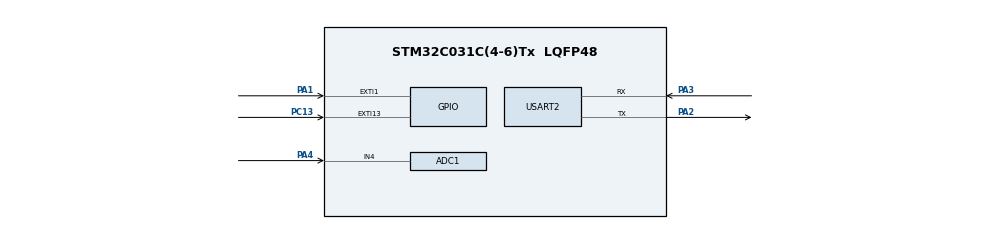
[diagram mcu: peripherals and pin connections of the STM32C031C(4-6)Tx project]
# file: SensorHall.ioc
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ADC1.NbrOfConversionFlag=0
ADC1.SelectedChannel=ADC_CHANNEL_4
ADC1.master=1
Dma.ADC1.0.Direction=DMA_PERIPH_TO_MEMORY
Dma.ADC1.0.EventEnable=DISABLE
Dma.ADC1.0.Instance=DMA1_Channel1
Dma.ADC1.0.MemDataAlignment=DMA_MDATAALIGN_HALFWORD
Dma.ADC1.0.MemInc=DMA_MINC_ENABLE
Dma.ADC1.0.Mode=DMA_NORMAL
Dma.ADC1.0.PeriphDataAlignment=DMA_PDATAALIGN_HALFWORD
Dma.ADC1.0.PeriphInc=DMA_PINC_DISABLE
Dma.ADC1.0.Polarity=HAL_DMAMUX_REQ_GEN_RISING
Dma.ADC1.0.Priority=DMA_PRIORITY_MEDIUM
Dma.ADC1.0.RequestNumber=1
Dma.ADC1.0.SignalID=NONE
Dma.ADC1.0.SyncEnable=DISABLE
Dma.ADC1.0.SyncPolarity=HAL_DMAMUX_SYNC_NO_EVENT
Dma.ADC1.0.SyncRequestNumber=1
Dma.ADC1.0.SyncSignalID=NONE
Dma.Request0=ADC1
Mcu.Family=STM32C0
Mcu.Name=STM32C031C(4-6)Tx
Mcu.Package=LQFP48
NVIC.DMA1_Channel1_IRQn=true\:0\:0\:false\:false\:true\:false\:true\:true
PA1.Signal=GPXTI1
PA13.GPIO_Label=DEBUG_SWDIO
PA13.Signal=DEBUG_SWDIO
PA14-BOOT0.GPIO_Label=DEBUG_SWCLK
PA14-BOOT0.Signal=DEBUG_SWCLK
PA2.Mode=Asynchronous
PA2.Signal=USART2_TX
PA3.Mode=Asynchronous
PA3.Signal=USART2_RX
PA4.Mode=IN4
PA4.Signal=ADC1_IN4
PC13.Signal=GPXTI13
PC14-OSCX_IN\ (PC14).GPIO_Label=RCC_OSCX_IN
PC14-OSCX_IN\ (PC14).Mode=LSE-External-Oscillator
PC14-OSCX_IN\ (PC14).Signal=RCC_OSCX_IN
PC15-OSCX_OUT\ (PC15).GPIO_Label=RCC_OSCX_OUT
PC15-OSCX_OUT\ (PC15).Mode=LSE-External-Oscillator
PC15-OSCX_OUT\ (PC15).Signal=RCC_OSCX_OUT
PF0-OSC_IN\ (PF0).GPIO_Label=RCC_OSC_IN
PF0-OSC_IN\ (PF0).Mode=HSE-External-Oscillator
PF0-OSC_IN\ (PF0).Signal=RCC_OSC_IN
PF1-OSC_OUT\ (PF1).GPIO_Label=RCC_OSC_OUT
PF1-OSC_OUT\ (PF1).Mode=HSE-External-Oscillator
PF1-OSC_OUT\ (PF1).Signal=RCC_OSC_OUT
ProjectManager.HeapSize=0x200
ProjectManager.StackSize=0x400
ProjectManager.TargetToolchain=Makefile
RCC.ADCFreq_Value=48000000
RCC.AHBFreq_Value=48000000
RCC.CortexFreq_Value=48000000
RCC.EXTERNAL_CLOCK_VALUE=12288000
RCC.HCLKFreq_Value=48000000
RCC.HSE_VALUE=48000000
RCC.HSISYSCLKDivider=RCC_HSI_DIV1
RCC.HSI_VALUE=48000000
RCC.SYSCLKFreq_VALUE=48000000
RCC.SYSCLKSource=RCC_SYSCLKSOURCE_HSE
USART2.VirtualMode-Asynchronous=VM_ASYNC
board=NUCLEO-C031C6

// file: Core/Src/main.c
/* USER CODE BEGIN Header */
/**

---

* @file           : main.c
* @brief          : Main program body

---

* @attention
*
* Copyright (c) 2025 STMicroelectronics.
* All rights reserved.
*
* This software is licensed under terms that can be found in the LICENSE file
* in the root directory of this software component.
* If no LICENSE file comes with this software, it is provided AS-IS.
*

---

*/
/* USER CODE END Header */
#include "main.h"

/* USER CODE BEGIN Includes */
#include <stdio.h>
#include <string.h>
#include <stdlib.h>
/* USER CODE END Includes */

typedef enum { RAW, MOVING_AVERAGE, RANDOM_NOISE } FilterMode;
typedef enum {
STATE_INIT,
STATE_WAIT_REQUEST,
STATE_LISTENING,
STATE_PAUSE,
STATE_WARNING,
STATE_ERROR
} SystemState;

#define USER_BUTTON_Pin       GPIO_PIN_13
#define USER_BUTTON_GPIO_Port GPIOC

#define LED_GREEN_Pin         GPIO_PIN_5
#define LED_GREEN_GPIO_Port   GPIOA

#define MA_SIZE 150
#define POT_THRESHOLD 2000
#define POT_THRESHOLDERROR 3000

ADC_HandleTypeDef hadc1;
DMA_HandleTypeDef hdma_adc1;
UART_HandleTypeDef huart2;

uint32_t adcBuffer[MA_SIZE] = {0};
uint16_t bufferIndex = 0;

volatile uint8_t buttonPressed = 0;
FilterMode currentMode = RAW;
SystemState currentState = STATE_INIT;

void SystemClock_Config(void);
static void MX_GPIO_Init(void);
static void MX_DMA_Init(void);
static void MX_ADC1_Init(void);
static void MX_USART2_UART_Init(void);

/* USER CODE BEGIN PV */

/* Compute Moving Average */
uint32_t computeMovingAverage(uint32_t newSample) {
static uint64_t sum = 0;
sum -= adcBuffer[bufferIndex];
adcBuffer[bufferIndex] = newSample;
sum += newSample;
bufferIndex = (bufferIndex + 1) % MA_SIZE;
return (uint32_t)(sum / MA_SIZE);
}

/* Add Random Noise */
uint32_t addRandomNoise(uint32_t value) {
int32_t noise = (rand() % 40) + 250;
int32_t result = value + noise;
if (result < 0) result = 0;
if (result > 4095) result = 4095;
return (uint32_t)result;
}

/* USER CODE END PV */

  int main(void)
  {
  HAL_Init();
  SystemClock_Config();

  MX_GPIO_Init();
  MX_DMA_Init();
  MX_ADC1_Init();
  MX_USART2_UART_Init();

  uint8_t rx;
  uint8_t buttonPrevState = GPIO_PIN_SET;

  while (1)
  {
  /* UART receive -> change filter mode */
  if (HAL_UART_Receive(&huart2, &rx, 1, 10) == HAL_OK)
  {
  if (rx == 'R') currentMode = RAW;
  else if (rx == 'M') currentMode = MOVING_AVERAGE;
  else if (rx == 'N') currentMode = RANDOM_NOISE;
  }

  /* Button polling */
  uint8_t buttonState = HAL_GPIO_ReadPin(USER_BUTTON_GPIO_Port, USER_BUTTON_Pin);

  if (buttonPrevState == GPIO_PIN_SET && buttonState == GPIO_PIN_RESET)
  {
      if(currentState == STATE_WAIT_REQUEST)
          currentState = STATE_LISTENING;
      else if(currentState == STATE_LISTENING)
          currentState = STATE_PAUSE;
      else if(currentState == STATE_PAUSE)
          currentState = STATE_LISTENING;
      else if(currentState == STATE_WARNING)
          currentState = STATE_WAIT_REQUEST;
      else if(currentState == STATE_ERROR)
          NVIC_SystemReset();
  }
  buttonPrevState = buttonState;

  switch(currentState)
  {
      case STATE_INIT:
          currentState = STATE_WAIT_REQUEST;
          break;

      case STATE_WAIT_REQUEST:
          HAL_GPIO_WritePin(LED_GREEN_GPIO_Port, LED_GREEN_Pin, GPIO_PIN_RESET);
          HAL_Delay(100);
          break;

      case STATE_LISTENING:
      {
          HAL_GPIO_WritePin(LED_GREEN_GPIO_Port, LED_GREEN_Pin, GPIO_PIN_SET);

          /* Read ADC */
          HAL_ADC_Start(&hadc1);
          HAL_ADC_PollForConversion(&hadc1, HAL_MAX_DELAY);
          uint32_t rawValue = HAL_ADC_GetValue(&hadc1);
          HAL_ADC_Stop(&hadc1);

          uint32_t maValue    = computeMovingAverage(rawValue);
          uint32_t noiseValue = addRandomNoise(rawValue);

          uint32_t raw_mv   = (rawValue   * 3300) / 4095;
          uint32_t ma_mv    = (maValue    * 3300) / 4095;
          uint32_t noise_mv = (noiseValue * 3300) / 4095;

          char msg[80];

          /* Send ONLY selected mode */
          switch(currentMode)
          {
              case RAW:
                  sprintf(msg, "RAW | %lu mV\r\n", raw_mv);
                  break;

              case MOVING_AVERAGE:
                  sprintf(msg, "MA | %lu mV\r\n", ma_mv);
                  break;

              case RANDOM_NOISE:
                  sprintf(msg, "NOISE | %lu mV\r\n", noise_mv);
                  break;
          }
          HAL_UART_Transmit(&huart2, (uint8_t*)msg, strlen(msg), HAL_MAX_DELAY);

          /* Threshold logic */
          static uint32_t highStart = 0;

          if(rawValue > POT_THRESHOLDERROR)
          {
              currentState = STATE_ERROR;
          }
          else if(rawValue > POT_THRESHOLD)
          {
              if(highStart == 0) highStart = HAL_GetTick();
              else if (HAL_GetTick() - highStart >= 5000)
              {
                  highStart = 0;
                  currentState = STATE_WARNING;
              }
          }
          else highStart = 0;

          HAL_Delay(100);
      }
      break;

      case STATE_PAUSE:
          HAL_GPIO_TogglePin(LED_GREEN_GPIO_Port, LED_GREEN_Pin);
          HAL_Delay(500);
          break;

      case STATE_WARNING:
          HAL_GPIO_WritePin(LED_GREEN_GPIO_Port, LED_GREEN_Pin, GPIO_PIN_RESET);
          HAL_UART_Transmit(&huart2, (uint8_t*)"WARNING\r\n", 9, HAL_MAX_DELAY);
          HAL_Delay(200);
          break;

      case STATE_ERROR:
          HAL_GPIO_TogglePin(LED_GREEN_GPIO_Port, LED_GREEN_Pin);
          HAL_UART_Transmit(&huart2, (uint8_t*)"ERROR\r\n", 7, HAL_MAX_DELAY);
          HAL_Delay(200);
          break;
  }
  }
  }

  void SystemClock_Config(void)
  {
  RCC_OscInitTypeDef RCC_OscInitStruct = {0};
  RCC_ClkInitTypeDef RCC_ClkInitStruct = {0};

  __HAL_FLASH_SET_LATENCY(FLASH_LATENCY_1);

  RCC_OscInitStruct.OscillatorType = RCC_OSCILLATORTYPE_HSE;
  RCC_OscInitStruct.HSEState = RCC_HSE_ON;
  HAL_RCC_OscConfig(&RCC_OscInitStruct);

  RCC_ClkInitStruct.ClockType = RCC_CLOCKTYPE_HCLK|
  RCC_CLOCKTYPE_SYSCLK|
  RCC_CLOCKTYPE_PCLK1;
  RCC_ClkInitStruct.SYSCLKSource = RCC_SYSCLKSOURCE_HSE;
  RCC_ClkInitStruct.SYSCLKDivider = RCC_SYSCLK_DIV1;
  RCC_ClkInitStruct.AHBCLKDivider = RCC_HCLK_DIV1;
  RCC_ClkInitStruct.APB1CLKDivider = RCC_APB1_DIV1;

  HAL_RCC_ClockConfig(&RCC_ClkInitStruct, FLASH_LATENCY_1);
  }

  static void MX_ADC1_Init(void)
  {
  ADC_ChannelConfTypeDef sConfig = {0};

  hadc1.Instance = ADC1;
  hadc1.Init.ClockPrescaler = ADC_CLOCK_SYNC_PCLK_DIV2;
  hadc1.Init.Resolution = ADC_RESOLUTION_12B;
  hadc1.Init.DataAlign = ADC_DATAALIGN_RIGHT;
  hadc1.Init.ScanConvMode = ADC_SCAN_SEQ_FIXED;
  hadc1.Init.EOCSelection = ADC_EOC_SINGLE_CONV;
  hadc1.Init.ContinuousConvMode = DISABLE;
  hadc1.Init.NbrOfConversion = 1;
  hadc1.Init.ExternalTrigConv = ADC_SOFTWARE_START;
  hadc1.Init.Overrun = ADC_OVR_DATA_PRESERVED;
  HAL_ADC_Init(&hadc1);

  sConfig.Channel = ADC_CHANNEL_4;
  sConfig.Rank = ADC_RANK_CHANNEL_NUMBER;
  HAL_ADC_ConfigChannel(&hadc1, &sConfig);
  }

/**

* @brief USART2 Initialization
  */
  static void MX_USART2_UART_Init(void)
  {
  huart2.Instance = USART2;
  huart2.Init.BaudRate = 115200;
  huart2.Init.WordLength = UART_WORDLENGTH_8B;
  huart2.Init.StopBits = UART_STOPBITS_1;
  huart2.Init.Parity = UART_PARITY_NONE;
  huart2.Init.Mode = UART_MODE_TX_RX;
  huart2.Init.HwFlowCtl = UART_HWCONTROL_NONE;
  huart2.Init.OverSampling = UART_OVERSAMPLING_16;
  HAL_UART_Init(&huart2);
  }

  static void MX_DMA_Init(void)
  {
  __HAL_RCC_DMA1_CLK_ENABLE();
  }

/**

* @brief GPIO Initialization
  */
  static void MX_GPIO_Init(void)
  {
  GPIO_InitTypeDef GPIO_InitStruct = {0};

  __HAL_RCC_GPIOC_CLK_ENABLE();
  __HAL_RCC_GPIOA_CLK_ENABLE();
  __HAL_RCC_SYSCFG_CLK_ENABLE();

  /* USER BUTTON */
  GPIO_InitStruct.Pin = USER_BUTTON_Pin;
  GPIO_InitStruct.Mode = GPIO_MODE_IT_RISING;
  GPIO_InitStruct.Pull = GPIO_NOPULL;
  HAL_GPIO_Init(GPIOC, &GPIO_InitStruct);

  /* LED */
  GPIO_InitStruct.Pin = LED_GREEN_Pin;
  GPIO_InitStruct.Mode = GPIO_MODE_OUTPUT_PP;
  GPIO_InitStruct.Pull = GPIO_NOPULL;
  GPIO_InitStruct.Speed = GPIO_SPEED_FREQ_LOW;
  HAL_GPIO_Init(LED_GREEN_GPIO_Port, &GPIO_InitStruct);

  /* EXTI IRQ */
  HAL_NVIC_SetPriority(EXTI0_1_IRQn, 1, 0);
  HAL_NVIC_EnableIRQ(EXTI0_1_IRQn);
  }

/* Interrupt Callback */
void HAL_GPIO_EXTI_Callback(uint16_t GPIO_Pin)
{
if (GPIO_Pin == USER_BUTTON_Pin)
buttonPressed = 1;
}

void Error_Handler(void)
{
__disable_irq();
while (1) {}
}
